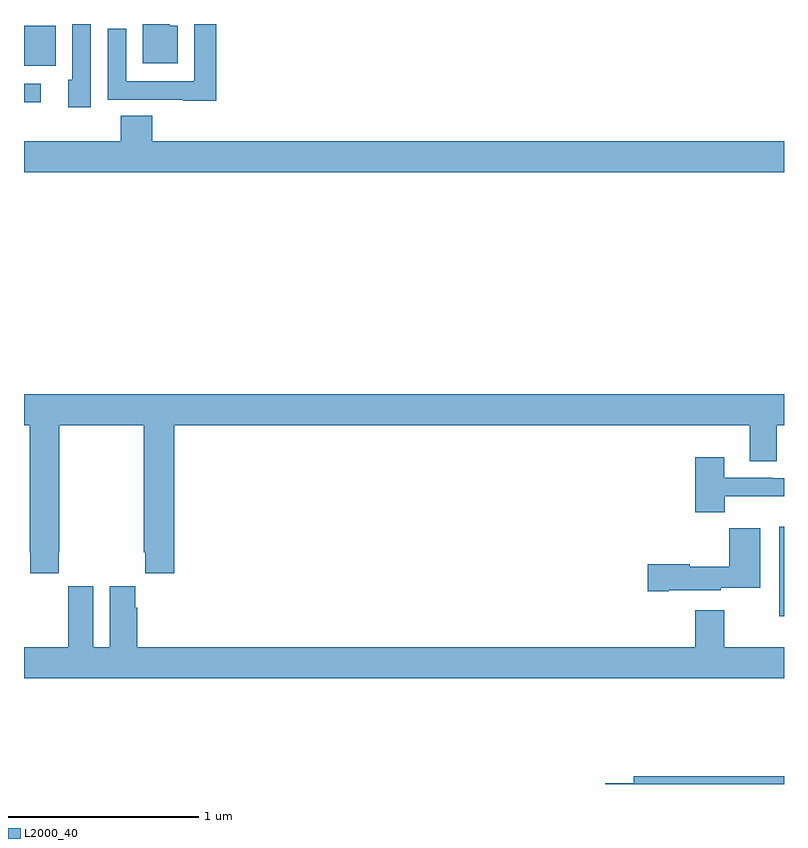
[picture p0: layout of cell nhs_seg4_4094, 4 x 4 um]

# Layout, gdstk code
import gdstk
lib = gdstk.Library(unit=1e-6, precision=1e-09)
def R(c, l, rs):  # rectangles x0, y0, x1, y1
    for r in rs: c.add(gdstk.rectangle(r[:2], r[2:], *l))
def P(c, l, *ps):  # polygons
    for p in ps: c.add(gdstk.Polygon(p, *l))
L2000_40 = (2000, 40)

nhs_seg4_4094 = lib.new_cell('nhs_seg4_4094')
R(nhs_seg4_4094, L2000_40, [(330.974,827.784,331,828.253), (327,830.489,327.088,830.586), (327,830.679,327.166,830.89)])
P(nhs_seg4_4094, L2000_40, [(327.808,830.89),(327.766,830.89),(327.766,830.9),(327.626,830.9),(327.626,830.693),(327.808,830.693)],
  [(327.351,830.9),(327.255,830.9),(327.255,830.607),(327.233,830.607),(327.233,830.463),(327.351,830.463)],
  [(328.013,830.9),(327.897,830.9),(327.897,830.598),(327.537,830.598),(327.537,830.875),(327.441,830.875),(327.441,830.502),(327.837,830.502),(327.837,830.495),(328.013,830.495)],
  [(331,830.284),(327.674,830.284),(327.674,830.417),(327.509,830.417),(327.509,830.284),(327,830.284),(327,830.12),(331,830.12)],
  [(327.183,828.121),(327.186,828.121),(327.186,828.788),(327.631,828.788),(327.631,828.121),(327.637,828.121),(327.637,828.009),(327.791,828.009),(327.791,828.788),(330.821,828.788),(330.821,828.598),(330.961,828.598),(330.961,828.788),(331,828.788),(331,828.952),(327,828.952),(327,828.788),(327.031,828.788),(327.031,828.121),(327.033,828.121),(327.033,828.009),(327.183,828.009)],
  [(330.688,828.414),(331,828.414),(331,828.51),(330.941,828.51),(330.941,828.513),(330.685,828.513),(330.685,828.619),(330.533,828.619),(330.533,828.329),(330.688,828.329)],
  [(330.394,827.921),(330.666,827.921),(330.666,827.933),(330.874,827.933),(330.874,828.247),(330.712,828.247),(330.712,828.043),(330.504,828.043),(330.504,828.056),(330.282,828.056),(330.282,827.914),(330.394,827.914)],
  [(331,827.62),(330.685,827.62),(330.685,827.815),(330.533,827.815),(330.533,827.62),(327.596,827.62),(327.596,827.828),(327.586,827.828),(327.586,827.941),(327.452,827.941),(327.452,827.62),(327.364,827.62),(327.364,827.941),(327.234,827.941),(327.234,827.828),(327.233,827.828),(327.233,827.62),(327,827.62),(327,827.456),(331,827.456)],
  [(331,826.94),(330.209,826.94),(330.209,826.904),(330.06,826.904),(330.06,826.9),(331,826.9)])

lib.write_gds('nhs_seg4_4094.gds')
